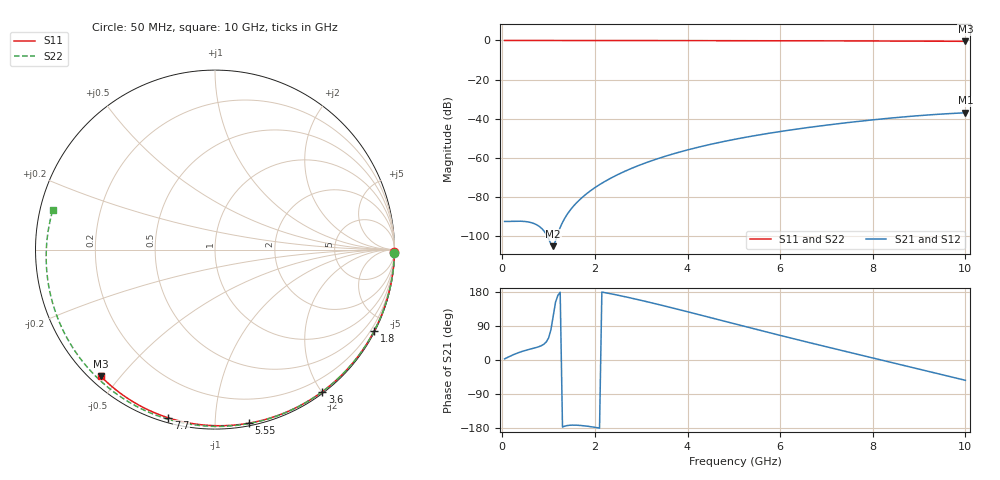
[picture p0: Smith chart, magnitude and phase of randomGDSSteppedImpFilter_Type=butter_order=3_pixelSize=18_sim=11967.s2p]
! freq	dB(S11)	phase(S11)	dB(S12)	phase(S12)
!  dB(S21)	phase(S21)	dB(S22)	phase(S22)
!S-par simulation data
#  GHz  S  DB  R 50
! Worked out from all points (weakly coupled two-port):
!   200 points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, 50 MHz to 10 GHz, reference 50 ohm
!   highest |S21| = -36.97 dB at 10 GHz (marker M1); lowest = -105.2 dB at 1.1 GHz (marker M2)
!   lowest |S11| = -0.4 dB at 10 GHz (marker M3), VSWR 39.12, Z = 1.53 - j22.3 ohm
!   |S11| at or under -10 dB: nowhere
!   |S22| runs from -0.6 to 0.0 dB; largest |S21 - S12| = 0
!   S11 on the Smith chart (normalised r, x): 50 MHz: open; 1.8 GHz: 0.04, -4.16; 3.6 GHz: 0.02, -2.01; 5.55 GHz: 0.02, -1.21; 7.7 GHz: 0.02, -0.76; 10 GHz: 0.03, -0.45
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0.05  -0.00 -0.8  -92.53 2.9  -92.53 2.9  -0.00 -1.1
0.55  -0.01 -8.4  -92.73 27.0  -92.73 27.0  -0.01 -11.7
1.1  -0.02 -16.7  -105.15 116.9  -105.15 116.9  -0.03 -23.2
1.7  -0.03 -25.6  -80.76 -172.8  -80.76 -172.8  -0.05 -35.7
1.75  -0.03 -26.3  -79.72 -173.4  -79.72 -173.4  -0.05 -36.7
1.8  -0.03 -27.0  -78.73 -174.1  -78.73 -174.1  -0.05 -37.7
2.1  -0.04 -31.5  -73.69 -179.6  -73.69 -179.6  -0.06 -43.8
2.5  -0.05 -37.3  -68.49 170.9  -68.49 170.9  -0.07 -51.8
2.9  -0.06 -43.0  -64.33 160.2  -64.33 160.2  -0.08 -59.8
3.4  -0.07 -50.1  -60.08 145.7  -60.08 145.7  -0.09 -69.5
3.6  -0.07 -52.9  -58.61 139.7  -58.61 139.7  -0.10 -73.3
4.3  -0.09 -62.5  -54.18 118.0  -54.18 118.0  -0.12 -86.6
5.05  -0.11 -72.5  -50.39 94.5  -50.39 94.5  -0.16 -100.4
5.55  -0.13 -79.0  -48.26 78.8  -48.26 78.8  -0.18 -109.4
6.1  -0.15 -86.0  -46.19 61.9  -46.19 61.9  -0.21 -119.3
6.7  -0.18 -93.4  -44.20 43.8  -44.20 43.8  -0.26 -130.0
7.7  -0.24 -105.4  -41.34 14.2  -41.34 14.2  -0.34 -148.1
8.35  -0.29 -113.1  -39.76 -4.9  -39.76 -4.9  -0.41 -160.2
8.8  -0.33 -118.3  -38.81 -18.2  -38.81 -18.2  -0.47 -168.8
9.2  -0.36 -122.8  -38.07 -30.0  -38.07 -30.0  -0.52 -176.7
9.6  -0.40 -127.4  -37.46 -41.9  -37.46 -41.9  -0.57 175.0
10  -0.44 -131.9  -36.97 -53.6  -36.97 -53.6  -0.63 166.5
